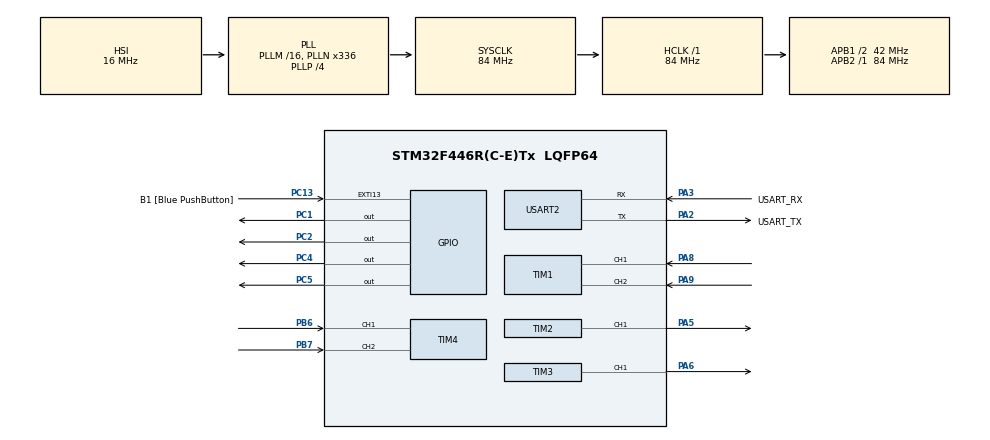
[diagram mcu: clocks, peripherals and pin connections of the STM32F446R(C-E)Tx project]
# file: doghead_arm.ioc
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FREERTOS.Tasks01=defaultTask,24,3000,StartDefaultTask,Default,NULL,Dynamic,NULL,NULL
FREERTOS.configTOTAL_HEAP_SIZE=20000
Mcu.Family=STM32F4
Mcu.Name=STM32F446R(C-E)Tx
Mcu.Package=LQFP64
NVIC.PriorityGroup=NVIC_PRIORITYGROUP_4
NVIC.TIM6_DAC_IRQn=true\:15\:0\:false\:false\:true\:false\:false\:true\:true
NVIC.TimeBase=TIM6_DAC_IRQn
NVIC.TimeBaseIP=TIM6
PA13.GPIO_Label=TMS
PA13.Mode=Serial_Wire
PA13.Signal=SYS_JTMS-SWDIO
PA14.GPIO_Label=TCK
PA14.Mode=Serial_Wire
PA14.Signal=SYS_JTCK-SWCLK
PA2.GPIO_Label=USART_TX
PA2.Mode=Asynchronous
PA2.Signal=USART2_TX
PA3.GPIO_Label=USART_RX
PA3.Mode=Asynchronous
PA3.Signal=USART2_RX
PA5.Signal=S_TIM2_CH1_ETR
PA6.Signal=S_TIM3_CH1
PA8.Signal=S_TIM1_CH1
PA9.Signal=S_TIM1_CH2
PB3.GPIO_Label=SWO
PB3.Signal=SYS_JTDO-SWO
PB6.Signal=S_TIM4_CH1
PB7.Signal=S_TIM4_CH2
PC1.Signal=GPIO_Output
PC13.GPIO_Label=B1 [Blue PushButton]
PC13.GPIO_ModeDefaultEXTI=GPIO_MODE_IT_FALLING
PC13.Signal=GPXTI13
PC14-OSC32_IN.Mode=LSE-External-Oscillator
PC14-OSC32_IN.Signal=RCC_OSC32_IN
PC15-OSC32_OUT.Mode=LSE-External-Oscillator
PC15-OSC32_OUT.Signal=RCC_OSC32_OUT
PC2.Signal=GPIO_Output
PC4.Signal=GPIO_Output
PC5.Signal=GPIO_Output
PH0-OSC_IN.Mode=HSE-External-Oscillator
PH0-OSC_IN.Signal=RCC_OSC_IN
PH1-OSC_OUT.Mode=HSE-External-Oscillator
PH1-OSC_OUT.Signal=RCC_OSC_OUT
ProjectManager.HeapSize=0x200
ProjectManager.StackSize=0x400
ProjectManager.TargetToolchain=STM32CubeIDE
RCC.48MHZClocksFreq_Value=84000000
RCC.AHBFreq_Value=84000000
RCC.APB1CLKDivider=RCC_HCLK_DIV2
RCC.APB1Freq_Value=42000000
RCC.APB1TimFreq_Value=84000000
RCC.APB2Freq_Value=84000000
RCC.APB2TimFreq_Value=84000000
RCC.CortexFreq_Value=84000000
RCC.FLatency-AdvancedSettings=FLASH_LATENCY_2
RCC.HCLKFreq_Value=84000000
RCC.HSE_VALUE=8000000
RCC.HSI_VALUE=16000000
RCC.PLLN=336
RCC.PLLP=RCC_PLLP_DIV4
RCC.SYSCLKFreq_VALUE=84000000
RCC.SYSCLKSource=RCC_SYSCLKSOURCE_PLLCLK
RCC.USBFreq_Value=168000000
RCC.VCOOutputFreq_Value=336000000
SH.S_TIM1_CH1.0=TIM1_CH1,Encoder_Interface
SH.S_TIM1_CH2.0=TIM1_CH2,Encoder_Interface
SH.S_TIM2_CH1_ETR.0=TIM2_CH1,PWM Generation1 CH1
SH.S_TIM3_CH1.0=TIM3_CH1,PWM Generation1 CH1
SH.S_TIM4_CH1.0=TIM4_CH1,Encoder_Interface
SH.S_TIM4_CH2.0=TIM4_CH2,Encoder_Interface
TIM2.Channel-PWM\ Generation1\ CH1=TIM_CHANNEL_1
TIM3.Channel-PWM\ Generation1\ CH1=TIM_CHANNEL_1
TIM4.EncoderMode=TIM_ENCODERMODE_TI12
USART2.VirtualMode=VM_ASYNC
VP_FREERTOS_VS_CMSIS_V2.Mode=CMSIS_V2
VP_SYS_VS_tim6.Mode=TIM6
board=NUCLEO-F446RE

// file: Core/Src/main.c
/* USER CODE BEGIN Header */
/**
  ******************************************************************************
  * @file           : main.c
  * @brief          : Main program body
  ******************************************************************************
  * @attention
  *
  * Copyright (c) 2025 STMicroelectronics.
  * All rights reserved.
  *
  * This software is licensed under terms that can be found in the LICENSE file
  * in the root directory of this software component.
  * If no LICENSE file comes with this software, it is provided AS-IS.
  *
  ******************************************************************************
  */
/* USER CODE END Header */
#include "main.h"
#include "cmsis_os.h"

/* USER CODE BEGIN Includes */
#include "mainpp.h"
#include <rcl/rcl.h>
#include <rcl/error_handling.h>
#include <rclc/rclc.h>
#include <rclc/executor.h>
#include <uxr/client/transport.h>
#include <rmw_microxrcedds_c/config.h>
#include <rmw_microros/rmw_microros.h>
/* USER CODE END Includes */

TIM_HandleTypeDef htim1;
TIM_HandleTypeDef htim2;
TIM_HandleTypeDef htim3;
TIM_HandleTypeDef htim4;

UART_HandleTypeDef huart2;

/* Definitions for defaultTask */
osThreadId_t defaultTaskHandle;
const osThreadAttr_t defaultTask_attributes = {
  .name = "defaultTask",
  .stack_size = 3000 * 4,
  .priority = (osPriority_t) osPriorityNormal,
};

void SystemClock_Config(void);
static void MX_GPIO_Init(void);
static void MX_USART2_UART_Init(void);
static void MX_TIM1_Init(void);
static void MX_TIM2_Init(void);
static void MX_TIM3_Init(void);
static void MX_TIM4_Init(void);
void StartDefaultTask(void *argument);

/* USER CODE BEGIN PFP */
#include "nidec_motor_driver.h"
/* USER CODE END PFP */

/* USER CODE BEGIN 0 */
bool cubemx_transport_open(struct uxrCustomTransport * transport);
bool cubemx_transport_close(struct uxrCustomTransport * transport);
size_t cubemx_transport_write(struct uxrCustomTransport* transport, const uint8_t * buf, size_t len, uint8_t * err);
size_t cubemx_transport_read(struct uxrCustomTransport* transport, uint8_t* buf, size_t len, int timeout, uint8_t* err);

void * microros_allocate(size_t size, void * state);
void microros_deallocate(void * pointer, void * state);
void * microros_reallocate(void * pointer, size_t size, void * state);
void * microros_zero_allocate(size_t number_of_elements, size_t size_of_element, void * state);
/* USER CODE END 0 */

int main(void)
{

  /* MCU Configuration--------------------------------------------------------*/

  /* Reset of all peripherals, Initializes the Flash interface and the Systick. */
  HAL_Init();

  /* Configure the system clock */
  SystemClock_Config();

  /* Initialize all configured peripherals */
  MX_GPIO_Init();
  MX_USART2_UART_Init();
  MX_TIM1_Init();
  MX_TIM2_Init();
  MX_TIM3_Init();
  MX_TIM4_Init();
  /* USER CODE BEGIN 2 */
    Robot_Init();
    Robot_SetTestMode(1);
  /* USER CODE END 2 */

  /* Init scheduler */
  osKernelInitialize();

  /* Create the thread(s) */
  /* creation of defaultTask */
  defaultTaskHandle = osThreadNew(StartDefaultTask, NULL, &defaultTask_attributes);

  /* USER CODE BEGIN RTOS_THREADS */
  /* add threads, ... */
  MX_FREERTOS_Init();  // 建立自訂的控制任務和通訊任務
  /* USER CODE END RTOS_THREADS */

  /* Start scheduler */
  osKernelStart();

  /* We should never get here as control is now taken by the scheduler */

  /* Infinite loop */
  while (1)
  {

    /* USER CODE BEGIN 3 */
    // 注意: FreeRTOS 啟動後 (osKernelStart) 不會執行這裡
    // 所有控制邏輯應放在 FreeRTOS 任務中
  }
  /* USER CODE END 3 */
}

void SystemClock_Config(void)
{
  RCC_OscInitTypeDef RCC_OscInitStruct = {0};
  RCC_ClkInitTypeDef RCC_ClkInitStruct = {0};

  /** Configure the main internal regulator output voltage
  */
  __HAL_RCC_PWR_CLK_ENABLE();
  __HAL_PWR_VOLTAGESCALING_CONFIG(PWR_REGULATOR_VOLTAGE_SCALE3);

  /** Initializes the RCC Oscillators according to the specified parameters
  * in the RCC_OscInitTypeDef structure.
  */
  RCC_OscInitStruct.OscillatorType = RCC_OSCILLATORTYPE_HSI;
  RCC_OscInitStruct.HSIState = RCC_HSI_ON;
  RCC_OscInitStruct.HSICalibrationValue = RCC_HSICALIBRATION_DEFAULT;
  RCC_OscInitStruct.PLL.PLLState = RCC_PLL_ON;
  RCC_OscInitStruct.PLL.PLLSource = RCC_PLLSOURCE_HSI;
  RCC_OscInitStruct.PLL.PLLM = 16;
  RCC_OscInitStruct.PLL.PLLN = 336;
  RCC_OscInitStruct.PLL.PLLP = RCC_PLLP_DIV4;
  RCC_OscInitStruct.PLL.PLLQ = 2;
  RCC_OscInitStruct.PLL.PLLR = 2;
  if (HAL_RCC_OscConfig(&RCC_OscInitStruct) != HAL_OK)
  {
    Error_Handler();
  }

  /** Initializes the CPU, AHB and APB buses clocks
  */
  RCC_ClkInitStruct.ClockType = RCC_CLOCKTYPE_HCLK|RCC_CLOCKTYPE_SYSCLK
                              |RCC_CLOCKTYPE_PCLK1|RCC_CLOCKTYPE_PCLK2;
  RCC_ClkInitStruct.SYSCLKSource = RCC_SYSCLKSOURCE_PLLCLK;
  RCC_ClkInitStruct.AHBCLKDivider = RCC_SYSCLK_DIV1;
  RCC_ClkInitStruct.APB1CLKDivider = RCC_HCLK_DIV2;
  RCC_ClkInitStruct.APB2CLKDivider = RCC_HCLK_DIV1;

  if (HAL_RCC_ClockConfig(&RCC_ClkInitStruct, FLASH_LATENCY_2) != HAL_OK)
  {
    Error_Handler();
  }
}

static void MX_TIM1_Init(void)
{

  TIM_Encoder_InitTypeDef sConfig = {0};
  TIM_MasterConfigTypeDef sMasterConfig = {0};

  htim1.Instance = TIM1;
  htim1.Init.Prescaler = 0;
  htim1.Init.CounterMode = TIM_COUNTERMODE_UP;
  htim1.Init.Period = 65535;
  htim1.Init.ClockDivision = TIM_CLOCKDIVISION_DIV1;
  htim1.Init.RepetitionCounter = 0;
  htim1.Init.AutoReloadPreload = TIM_AUTORELOAD_PRELOAD_DISABLE;
  sConfig.EncoderMode = TIM_ENCODERMODE_TI1;
  sConfig.IC1Polarity = TIM_ICPOLARITY_RISING;
  sConfig.IC1Selection = TIM_ICSELECTION_DIRECTTI;
  sConfig.IC1Prescaler = TIM_ICPSC_DIV1;
  sConfig.IC1Filter = 0;
  sConfig.IC2Polarity = TIM_ICPOLARITY_RISING;
  sConfig.IC2Selection = TIM_ICSELECTION_DIRECTTI;
  sConfig.IC2Prescaler = TIM_ICPSC_DIV1;
  sConfig.IC2Filter = 0;
  if (HAL_TIM_Encoder_Init(&htim1, &sConfig) != HAL_OK)
  {
    Error_Handler();
  }
  sMasterConfig.MasterOutputTrigger = TIM_TRGO_RESET;
  sMasterConfig.MasterSlaveMode = TIM_MASTERSLAVEMODE_DISABLE;
  if (HAL_TIMEx_MasterConfigSynchronization(&htim1, &sMasterConfig) != HAL_OK)
  {
    Error_Handler();
  }

}

static void MX_TIM2_Init(void)
{

  TIM_MasterConfigTypeDef sMasterConfig = {0};
  TIM_OC_InitTypeDef sConfigOC = {0};

  htim2.Instance = TIM2;
  htim2.Init.Prescaler = 0;
  htim2.Init.CounterMode = TIM_COUNTERMODE_UP;
  htim2.Init.Period = 4294967295;
  htim2.Init.ClockDivision = TIM_CLOCKDIVISION_DIV1;
  htim2.Init.AutoReloadPreload = TIM_AUTORELOAD_PRELOAD_DISABLE;
  if (HAL_TIM_PWM_Init(&htim2) != HAL_OK)
  {
    Error_Handler();
  }
  sMasterConfig.MasterOutputTrigger = TIM_TRGO_RESET;
  sMasterConfig.MasterSlaveMode = TIM_MASTERSLAVEMODE_DISABLE;
  if (HAL_TIMEx_MasterConfigSynchronization(&htim2, &sMasterConfig) != HAL_OK)
  {
    Error_Handler();
  }
  sConfigOC.OCMode = TIM_OCMODE_PWM1;
  sConfigOC.Pulse = 0;
  sConfigOC.OCPolarity = TIM_OCPOLARITY_HIGH;
  sConfigOC.OCFastMode = TIM_OCFAST_DISABLE;
  if (HAL_TIM_PWM_ConfigChannel(&htim2, &sConfigOC, TIM_CHANNEL_1) != HAL_OK)
  {
    Error_Handler();
  }
  HAL_TIM_MspPostInit(&htim2);

}

static void MX_TIM3_Init(void)
{

  TIM_MasterConfigTypeDef sMasterConfig = {0};
  TIM_OC_InitTypeDef sConfigOC = {0};

  htim3.Instance = TIM3;
  htim3.Init.Prescaler = 0;
  htim3.Init.CounterMode = TIM_COUNTERMODE_UP;
  htim3.Init.Period = 65535;
  htim3.Init.ClockDivision = TIM_CLOCKDIVISION_DIV1;
  htim3.Init.AutoReloadPreload = TIM_AUTORELOAD_PRELOAD_DISABLE;
  if (HAL_TIM_PWM_Init(&htim3) != HAL_OK)
  {
    Error_Handler();
  }
  sMasterConfig.MasterOutputTrigger = TIM_TRGO_RESET;
  sMasterConfig.MasterSlaveMode = TIM_MASTERSLAVEMODE_DISABLE;
  if (HAL_TIMEx_MasterConfigSynchronization(&htim3, &sMasterConfig) != HAL_OK)
  {
    Error_Handler();
  }
  sConfigOC.OCMode = TIM_OCMODE_PWM1;
  sConfigOC.Pulse = 0;
  sConfigOC.OCPolarity = TIM_OCPOLARITY_HIGH;
  sConfigOC.OCFastMode = TIM_OCFAST_DISABLE;
  if (HAL_TIM_PWM_ConfigChannel(&htim3, &sConfigOC, TIM_CHANNEL_1) != HAL_OK)
  {
    Error_Handler();
  }
  HAL_TIM_MspPostInit(&htim3);

}

static void MX_TIM4_Init(void)
{

  TIM_Encoder_InitTypeDef sConfig = {0};
  TIM_MasterConfigTypeDef sMasterConfig = {0};

  htim4.Instance = TIM4;
  htim4.Init.Prescaler = 0;
  htim4.Init.CounterMode = TIM_COUNTERMODE_UP;
  htim4.Init.Period = 65535;
  htim4.Init.ClockDivision = TIM_CLOCKDIVISION_DIV1;
  htim4.Init.AutoReloadPreload = TIM_AUTORELOAD_PRELOAD_DISABLE;
  sConfig.EncoderMode = TIM_ENCODERMODE_TI12;
  sConfig.IC1Polarity = TIM_ICPOLARITY_RISING;
  sConfig.IC1Selection = TIM_ICSELECTION_DIRECTTI;
  sConfig.IC1Prescaler = TIM_ICPSC_DIV1;
  sConfig.IC1Filter = 0;
  sConfig.IC2Polarity = TIM_ICPOLARITY_RISING;
  sConfig.IC2Selection = TIM_ICSELECTION_DIRECTTI;
  sConfig.IC2Prescaler = TIM_ICPSC_DIV1;
  sConfig.IC2Filter = 0;
  if (HAL_TIM_Encoder_Init(&htim4, &sConfig) != HAL_OK)
  {
    Error_Handler();
  }
  sMasterConfig.MasterOutputTrigger = TIM_TRGO_RESET;
  sMasterConfig.MasterSlaveMode = TIM_MASTERSLAVEMODE_DISABLE;
  if (HAL_TIMEx_MasterConfigSynchronization(&htim4, &sMasterConfig) != HAL_OK)
  {
    Error_Handler();
  }

}

static void MX_USART2_UART_Init(void)
{

  huart2.Instance = USART2;
  huart2.Init.BaudRate = 115200;
  huart2.Init.WordLength = UART_WORDLENGTH_8B;
  huart2.Init.StopBits = UART_STOPBITS_1;
  huart2.Init.Parity = UART_PARITY_NONE;
  huart2.Init.Mode = UART_MODE_TX_RX;
  huart2.Init.HwFlowCtl = UART_HWCONTROL_NONE;
  huart2.Init.OverSampling = UART_OVERSAMPLING_16;
  if (HAL_UART_Init(&huart2) != HAL_OK)
  {
    Error_Handler();
  }

}

static void MX_GPIO_Init(void)
{
  GPIO_InitTypeDef GPIO_InitStruct = {0};

  /* GPIO Ports Clock Enable */
  __HAL_RCC_GPIOC_CLK_ENABLE();
  __HAL_RCC_GPIOH_CLK_ENABLE();
  __HAL_RCC_GPIOA_CLK_ENABLE();
  __HAL_RCC_GPIOB_CLK_ENABLE();

  /*Configure GPIO pin Output Level */
  HAL_GPIO_WritePin(GPIOC, GPIO_PIN_1|GPIO_PIN_2|GPIO_PIN_4|GPIO_PIN_5, GPIO_PIN_RESET);

  /*Configure GPIO pin : B1_Pin */
  GPIO_InitStruct.Pin = B1_Pin;
  GPIO_InitStruct.Mode = GPIO_MODE_IT_FALLING;
  GPIO_InitStruct.Pull = GPIO_NOPULL;
  HAL_GPIO_Init(B1_GPIO_Port, &GPIO_InitStruct);

  /*Configure GPIO pins : PC1 PC2 PC4 PC5 */
  GPIO_InitStruct.Pin = GPIO_PIN_1|GPIO_PIN_2|GPIO_PIN_4|GPIO_PIN_5;
  GPIO_InitStruct.Mode = GPIO_MODE_OUTPUT_PP;
  GPIO_InitStruct.Pull = GPIO_NOPULL;
  GPIO_InitStruct.Speed = GPIO_SPEED_FREQ_LOW;
  HAL_GPIO_Init(GPIOC, &GPIO_InitStruct);

}

void StartDefaultTask(void *argument)
{
  /* USER CODE BEGIN 5 */
  // micro-ROS Transports 初始化
  rmw_uros_set_custom_transport(
    true,
    (void *) &huart2,
    cubemx_transport_open,
    cubemx_transport_close,
    cubemx_transport_write,
    cubemx_transport_read
  );

  // 設定 FreeRTOS 記憶體分配器
  rcl_allocator_t freeRTOS_allocator = rcutils_get_zero_initialized_allocator();
  freeRTOS_allocator.allocate = microros_allocate;
  freeRTOS_allocator.deallocate = microros_deallocate;
  freeRTOS_allocator.reallocate = microros_reallocate;
  freeRTOS_allocator.zero_allocate =  microros_zero_allocate;

  if (!rcutils_set_default_allocator(&freeRTOS_allocator)) {
      printf("Error on default allocators (line %d)\n", __LINE__);
  }

  // 未來在這裡初始化 micro-ROS node, publisher, subscriber 等
  // 目前先保持簡單，只做初始化

  /* Infinite loop */
  for(;;)
  {
    // 主任務保持最低優先級，讓其他任務優先執行
    // 未來可以在這裡處理 micro-ROS 的 spin 或監控
    osDelay(1000);
  }
  /* USER CODE END 5 */
}

void HAL_TIM_PeriodElapsedCallback(TIM_HandleTypeDef *htim)
{
  if (htim->Instance == TIM6)
  {
    HAL_IncTick();
  }
}

void Error_Handler(void)
{
  __disable_irq();
  while (1)
  {
  }
}

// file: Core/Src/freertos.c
/* USER CODE BEGIN Header */
/**
  ******************************************************************************
  * File Name          : freertos.c
  * Description        : Code for freertos applications
  ******************************************************************************
  * @attention
  *
  * Copyright (c) 2026 STMicroelectronics.
  * All rights reserved.
  *
  * This software is licensed under terms that can be found in the LICENSE file
  * in the root directory of this software component.
  * If no LICENSE file comes with this software, it is provided AS-IS.
  *
  ******************************************************************************
  */
/* USER CODE END Header */

#include "FreeRTOS.h"
#include "task.h"
#include "main.h"

/* USER CODE BEGIN Includes */
#include "mainpp.h"  // 用於呼叫 C++ 的 Robot_Loop
#include "nidec_motor_driver.h" // 用於存取馬達物件與 API
#include <stdio.h>

// 宣告外部馬達物件 (定義在 nidec_motor_driver.c)
extern Motor_t motor_joint_13pin;
extern Motor_t motor_joint_8pin;

// 全域除錯變數 (可在 Live Watch 中觀察)
volatile float debug_speed_m1 = 0.0f;
volatile float debug_speed_m2 = 0.0f;
/* USER CODE END Includes */

/* USER CODE BEGIN FunctionPrototypes */
void MX_FREERTOS_Init(void);  // 宣告初始化函式
/* USER CODE END FunctionPrototypes */

/* USER CODE BEGIN Application */

// ==========================================================
// FreeRTOS 任務定義
// ==========================================================

/**
 * @brief 控制任務：高優先級，1kHz (1ms 週期)
 * @note 負責執行 PID 控制、運動學解算、馬達輸出
 */
void ControlTask(void *argument)
{
  TickType_t xLastWakeTime = xTaskGetTickCount();
  const TickType_t xFrequency = pdMS_TO_TICKS(1); // 1ms = 1000Hz

  for(;;)
  {
    // 呼叫機器手臂核心控制迴圈
    // 傳入精確的時間間隔 (1ms = 0.001s)
    Robot_Loop(0.001f);

    // 使用 vTaskDelayUntil 保證精準週期
    // 這會自動補償函式執行時間，確保穩定的 1kHz 控制頻率
    vTaskDelayUntil(&xLastWakeTime, xFrequency);
  }
}

/**
 * @brief 通訊任務：低優先級，10Hz (100ms 週期)
 * @note 負責處理 UART 通訊、診斷輸出、未來整合 micro-ROS
 */
void CommTask(void *argument)
{
  TickType_t xLastWakeTime = xTaskGetTickCount();
  const TickType_t xFrequency = pdMS_TO_TICKS(100); // 100ms = 10Hz

  uint32_t counter = 0;

  // [測試模式] 啟動測試模式並設定目標轉速
  // 這裡設定為 500 RPM 進行初步驗證
  Robot_SetTestMode(true);
  Robot_SetTestSpeed(500, 500);

  for(;;)
  {
    // 讀取並儲存當前馬達速度 (由 ControlTask 中的 Motor_Update 更新)
    debug_speed_m1 = Motor_GetVelocity(&motor_joint_13pin);
    debug_speed_m2 = Motor_GetVelocity(&motor_joint_8pin);

    // 範例：定期輸出診斷資訊
    // 你可以在這裡讀取馬達狀態、編碼器位置等，然後透過 UART 輸出
    counter++;

    // 每 1 秒輸出一次 (10Hz * 10 = 1s)
    if (counter % 10 == 0) {
      printf("M1 RPM: %.2f, M2 RPM: %.2f\r\n", debug_speed_m1, debug_speed_m2);
    }

    // 未來在這裡處理：
    // - micro-ROS 訊息接收 (Subscriber callback)
    // - 狀態回報 (Publisher)
    // - 參數調整指令解析

    vTaskDelayUntil(&xLastWakeTime, xFrequency);
  }
}

/**
 * @brief 在 main() 的 RTOS_THREADS 區段呼叫此函式來建立任務
 */
void MX_FREERTOS_Init(void)
{
  // 建立控制任務 (最高優先級 = 3)
  TaskHandle_t controlTaskHandle = NULL;
  xTaskCreate(
    ControlTask,           // 任務函式
    "ControlTask",         // 任務名稱 (用於除錯)
    256,                   // Stack 大小 (單位: words, 1 word = 4 bytes)
    NULL,                  // 任務參數
    3,                     // 優先級 (數字越大優先級越高)
    &controlTaskHandle     // 任務控制代碼
  );

  // 建立通訊任務 (中等優先級 = 2)
  TaskHandle_t commTaskHandle = NULL;
  xTaskCreate(
    CommTask,
    "CommTask",
    256,
    NULL,
    2,
    &commTaskHandle
  );

  // defaultTask 已經在 main.c 中由 CubeMX 自動建立
  // 其優先級為 Normal (通常是 1)，低於我們自訂的任務
}

/* USER CODE END Application */
